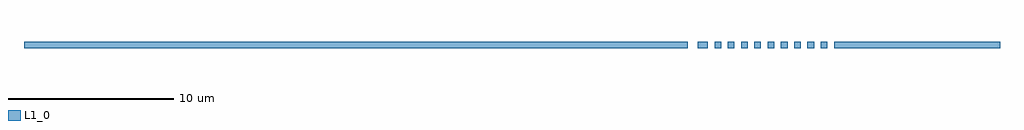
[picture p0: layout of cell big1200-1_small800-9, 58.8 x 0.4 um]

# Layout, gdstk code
import gdstk
lib = gdstk.Library(unit=1e-6, precision=1e-09)
def R(c, l, rs):  # rectangles x0, y0, x1, y1
    for r in rs: c.add(gdstk.rectangle(r[:2], r[2:], *l))
def A(c, l, x, y, w, h, nx, ny, dx, dy):  # array of equal rectangles
    R(c, l, [(x+i*dx, y+j*dy, x+i*dx+w, y+j*dy+h) for i in range(nx) for j in range(ny)])
L1_0 = (1, 0)

big1200_1_small800_9 = lib.new_cell('big1200-1_small800-9')
A(big1200_1_small800_9, L1_0, 1.6, 0, 0.4, 0.4, 9, 1, 0.8, 0)
R(big1200_1_small800_9, L1_0, [(-40,0,0,0.4), (0.6,0,1.2,0.4), (8.8,0,18.8,0.4)])

lib.write_gds('big1200-1_small800-9.gds')
